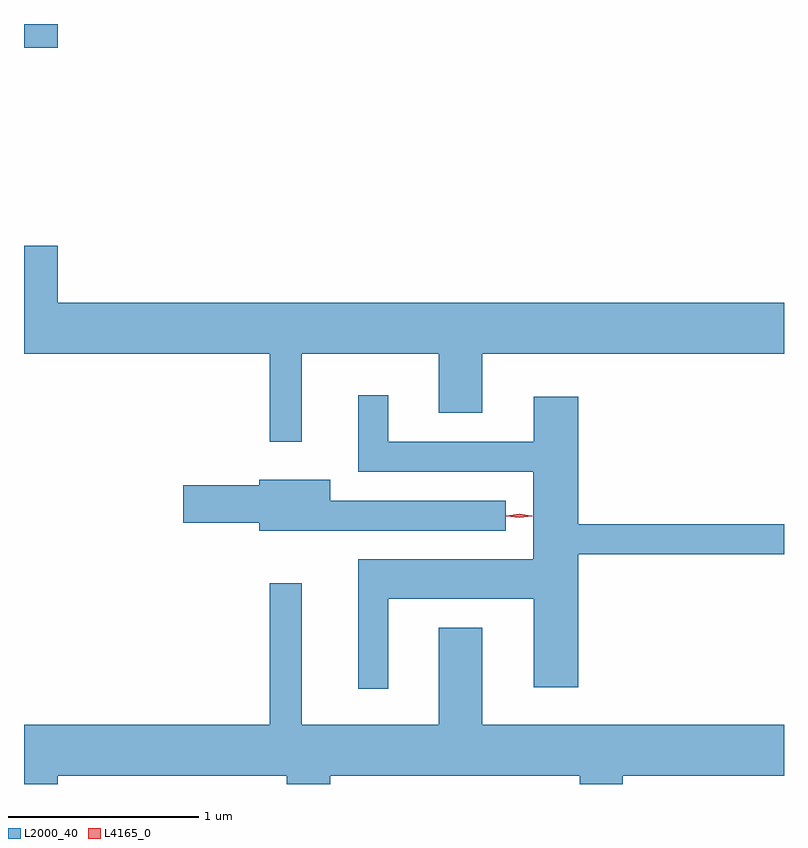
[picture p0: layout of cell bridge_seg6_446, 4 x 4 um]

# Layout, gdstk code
import gdstk
lib = gdstk.Library(unit=1e-6, precision=1e-09)
def R(c, l, rs):  # rectangles x0, y0, x1, y1
    for r in rs: c.add(gdstk.rectangle(r[:2], r[2:], *l))
def P(c, l, *ps):  # polygons
    for p in ps: c.add(gdstk.Polygon(p, *l))
L2000_40 = (2000, 40)
L4165_0 = (4165, 0)

bridge_seg6_446 = lib.new_cell('bridge_seg6_446')
R(bridge_seg6_446, L2000_40, [(614.767,1584.946,614.944,1585.072)])
P(bridge_seg6_446, L2000_40, [(616.229,1583.336),(616.951,1583.336),(616.951,1583.026),(617.179,1583.026),(617.179,1583.336),(618.767,1583.336),(618.767,1583.604),(614.944,1583.604),(614.944,1583.904),(614.767,1583.904),(614.767,1583.336),(616.061,1583.336),(616.061,1582.873),(616.229,1582.873)],
  [(616.684,1582.046),(617.451,1582.046),(617.451,1581.581),(617.684,1581.581),(617.684,1582.281),(618.767,1582.281),(618.767,1582.439),(617.684,1582.439),(617.684,1583.109),(617.451,1583.109),(617.451,1582.874),(616.684,1582.874),(616.684,1583.118),(616.526,1583.118),(616.526,1582.716),(617.446,1582.716),(617.446,1582.254),(616.526,1582.254),(616.526,1581.573),(616.684,1581.573)],
  [(617.303,1582.564),(616.379,1582.564),(616.379,1582.674),(616.006,1582.674),(616.006,1582.644),(615.606,1582.644),(615.606,1582.446),(616.006,1582.446),(616.006,1582.406),(617.303,1582.406)],
  [(614.944,1581.116),(616.151,1581.116),(616.151,1581.072),(616.379,1581.072),(616.379,1581.116),(617.691,1581.116),(617.691,1581.072),(617.919,1581.072),(617.919,1581.116),(618.767,1581.116),(618.767,1581.384),(617.179,1581.384),(617.179,1581.894),(616.951,1581.894),(616.951,1581.384),(616.229,1581.384),(616.229,1582.128),(616.061,1582.128),(616.061,1581.384),(614.767,1581.384),(614.767,1581.072),(614.944,1581.072)])
P(bridge_seg6_446, L4165_0, [(617.373,1582.475),(617.308,1582.484),(617.307,1582.485),(617.308,1582.485),(617.373,1582.495),(617.438,1582.485),(617.439,1582.485),(617.438,1582.484)],
  [(617.373,1582.473),(617.304,1582.482),(617.304,1582.483),(617.304,1582.483),(617.373,1582.493),(617.442,1582.483),(617.443,1582.483),(617.442,1582.482)])

lib.write_gds('bridge_seg6_446.gds')
